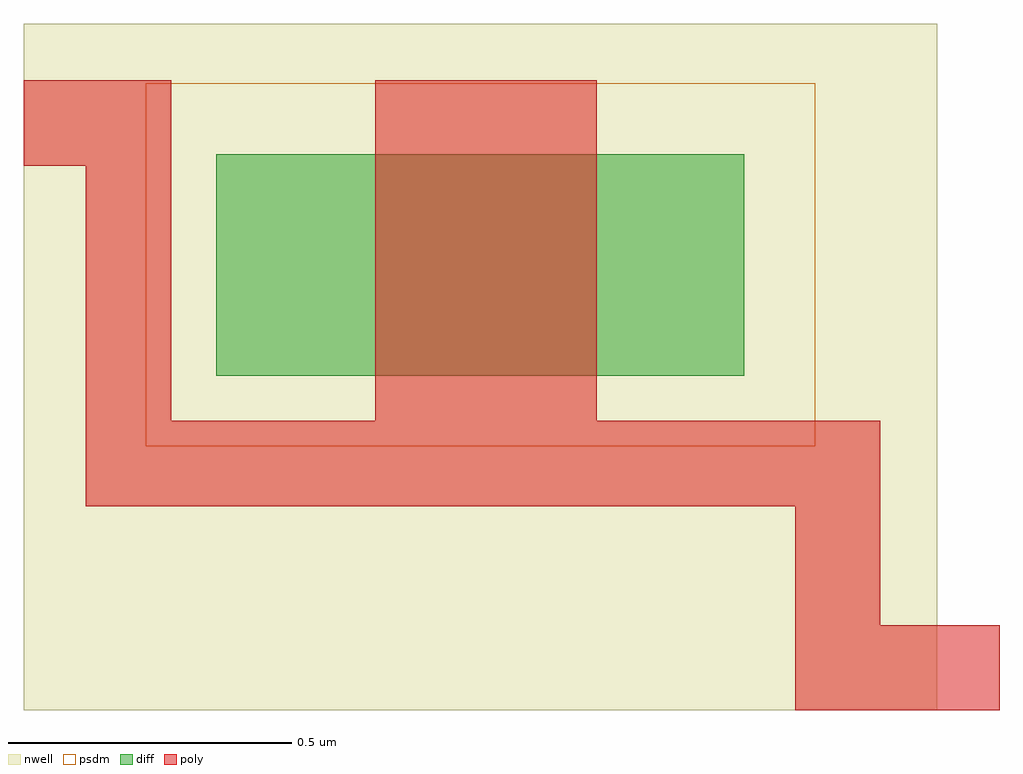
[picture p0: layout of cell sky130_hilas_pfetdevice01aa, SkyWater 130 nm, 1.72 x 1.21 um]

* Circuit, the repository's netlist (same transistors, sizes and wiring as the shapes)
* NGSPICE file created from /home/bjmuld/work/hilas/fastlane/PDKs/sky130A_hilas/libs.ref/sky130_hilas_sc/mag/sky130_hilas_pFETdevice01aa.ext - technology: sky130A


* Top level circuit /home/bjmuld/work/hilas/fastlane/PDKs/sky130A_hilas/libs.ref/sky130_hilas_sc/mag/sky130_hilas_pFETdevice01aa

X0 a_42_n38# a_n160_36# a_n92_n38# w_n160_n156# sky130_fd_pr__pfet_01v8 w=390000u l=390000u
.end

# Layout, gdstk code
import gdstk
lib = gdstk.Library(unit=1e-6, precision=1e-09)
def R(c, l, rs):  # rectangles x0, y0, x1, y1
    for r in rs: c.add(gdstk.rectangle(r[:2], r[2:], *l))
nwell = (64, 20)
diff = (65, 20)
poly = (66, 20)
psdm = (94, 20)

sky130_hilas_pfetdevice0 = lib.new_cell('sky130_hilas_pfetdevice01aa')
R(sky130_hilas_pfetdevice0, nwell, [(-0.8,-0.78,0.81,0.43)])
R(sky130_hilas_pfetdevice0, diff, [(-0.46,-0.19,0.47,0.2)])
R(sky130_hilas_pfetdevice0, poly, [(0.56,-0.78,0.92,-0.63), (0.56,-0.63,0.71,-0.42), (-0.69,-0.42,0.71,-0.27), (-0.69,-0.27,-0.54,0.18), (-0.18,-0.27,0.21,0.33), (-0.8,0.18,-0.54,0.33)])
R(sky130_hilas_pfetdevice0, psdm, [(-0.585,-0.315,0.595,0.325)])

lib.write_gds('sky130_hilas_pfetdevice01aa.gds')
